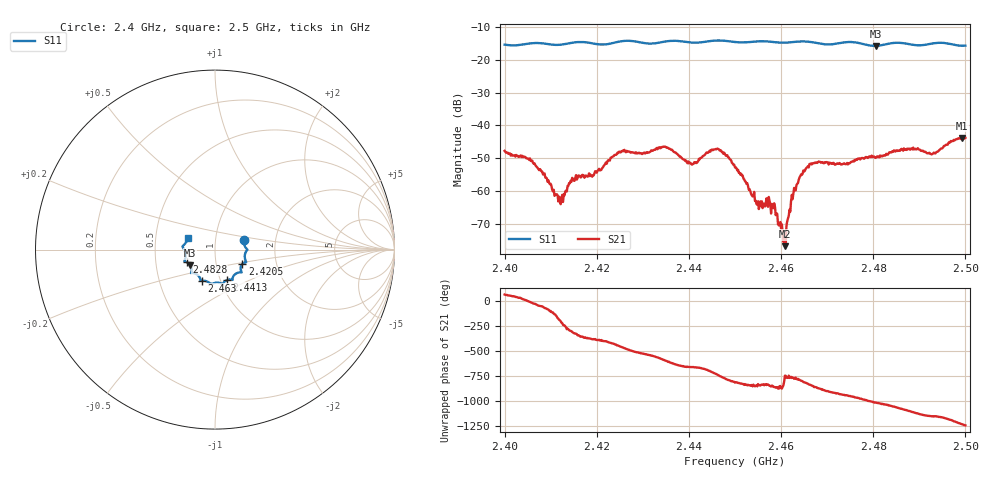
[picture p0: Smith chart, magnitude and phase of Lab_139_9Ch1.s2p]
# Hz S RI R 50
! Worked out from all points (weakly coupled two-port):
!   601 points, 2.4 GHz to 2.5 GHz, reference 50 ohm
!   highest |S21| = -43.76 dB at 2.4993 GHz (marker M1); lowest = -76.8 dB at 2.4608 GHz (marker M2)
!   lowest |S11| = -15.7 dB at 2.4805 GHz (marker M3), VSWR 1.39, Z = 37.4 - j6.67 ohm
!   |S11| at or under -10 dB: start of sweep to end of sweep
!   S12 and S22 are empty: the file has one direction only
!   S11 on the Smith chart (normalised r, x): 2.4 GHz: 1.38, +0.15; 2.4205 GHz: 1.34, -0.22; 2.4413 GHz: 1.08, -0.38; 2.463 GHz: 0.82, -0.29; 2.4828 GHz: 0.72, -0.10; 2.5 GHz: 0.73, +0.10
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2.4e9  0.1625 0.0524  0.00181 0.00368  0 0  0 0
2.406e9  0.1794 0.00118  0.00274 -0.00101  0 0  0 0
2.412167e9  0.1657 -0.0385  -0.000581 0.000251  0 0  0 0
2.414333e9  0.17 -0.0606  0.000705 0.00125  0 0  0 0
2.416667e9  0.1738 -0.0694  0.00163 0.000108  0 0  0 0
2.4205e9  0.1516 -0.0808  0.00192 -0.00104  0 0  0 0
2.425167e9  0.1467 -0.1224  -0.000506 -0.00385  0 0  0 0
2.433333e9  0.1002 -0.1516  -0.00411 0.00206  0 0  0 0
2.441333e9  0.0672 -0.1696  0.0015 0.00222  0 0  0 0
2.446e9  0.042 -0.1925  0.00424 -0.000954  0 0  0 0
2.45e9  0.0248 -0.1853  -0.000283 -0.00228  0 0  0 0
2.454833e9  -0.0155 -0.1905  -0.000428 -0.000447  0 0  0 0
2.4585e9  -0.0339 -0.1832  -0.000503 -0.000417  0 0  0 0
2.460833e9  -0.0544 -0.1742  0.000129 -6.66e-05  0 0  0 0
2.463e9  -0.0724 -0.1735  0.000599 -0.000906  0 0  0 0
2.466667e9  -0.0812 -0.1673  -0.00151 -0.00206  0 0  0 0
2.4805e9  -0.1382 -0.087  0.00143 0.00287  0 0  0 0
2.482833e9  -0.1585 -0.0704  0.00273 0.00251  0 0  0 0
2.483333e9  -0.1625 -0.0686  0.00309 0.00213  0 0  0 0
2.493e9  -0.1779 0.00952  0.00114 -0.00359  0 0  0 0
2.499333e9  -0.1544 0.0544  -0.00584 -0.00281  0 0  0 0
2.5e9  -0.1518 0.064  -0.00626 -0.00164  0 0  0 0
